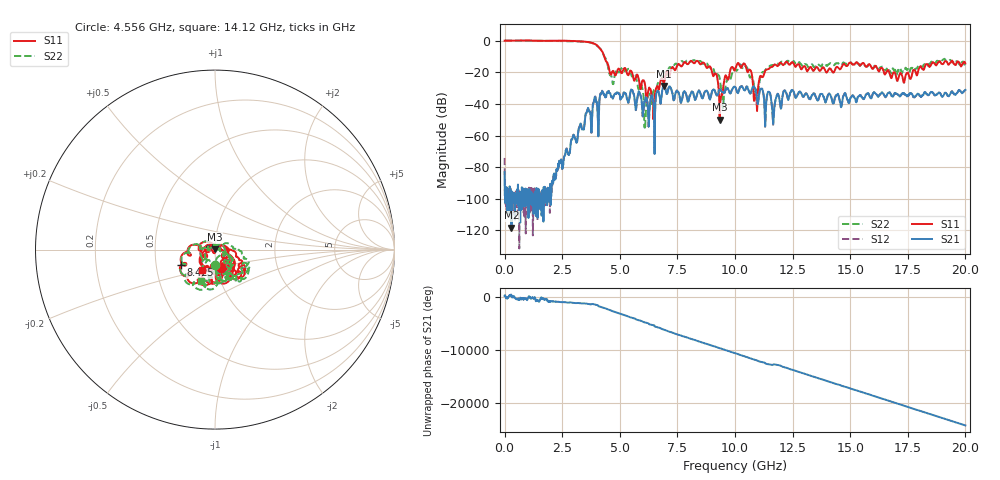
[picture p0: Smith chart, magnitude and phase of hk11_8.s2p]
#  HZ  S  RI  R  50.00
! Rohde & Schwarz Vector Network Analyzer
! Rohde-Schwarz,ZNB20-2Port,1311601062102128,3.60
! Created: UTC 4/29/2024, 3:47:19 PM
! freq[Hz]  re:S11  im:S11  re:S21  im:S21  re:S12  im:S12  re:S22  im:S22
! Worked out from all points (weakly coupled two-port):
!   2007 points, 100 kHz to 20 GHz, reference 50 ohm
!   highest |S21| = -28.69 dB at 6.919 GHz (marker M1); lowest = -118.2 dB at 299.2 MHz (marker M2)
!   lowest |S11| = -49.9 dB at 9.332 GHz (marker M3), VSWR 1.01, Z = 49.8 + j0.229 ohm
!   |S11| at or under -10 dB: 4.327 GHz to end of sweep
!   |S22| runs from -55.1 to 0.1 dB; largest |S21 - S12| = 0.0019
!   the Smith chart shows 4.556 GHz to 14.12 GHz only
!   S11 on the Smith chart (normalised r, x): 4.556 GHz: 1.04, -0.21; 8.425 GHz: 0.67, -0.12; 14.12 GHz: 0.85, -0.19
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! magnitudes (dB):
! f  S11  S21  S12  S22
! 100 kHz  0.0  -83.1  -74.1  0.1
! 299.2 MHz  0.0  -118.2  -95.8  0.0
! 2.253 GHz  0.0  -81.1  -84.0  -0.3
! 3.34 GHz  -0.6  -55.1  -54.9  -0.6
! 4.118 GHz  -4.7  -37.1  -37.3  -4.6
! 4.556 GHz  -19.5  -33.0  -33.0  -21.3
! 5.633 GHz  -25.4  -35.9  -35.9  -21.3
! 6.122 GHz  -31.4  -36.3  -36.3  -46.2
! 6.67 GHz  -30.1  -31.9  -31.9  -26.2
! 6.919 GHz  -26.6  -28.7  -28.8  -20.1
! 8.425 GHz  -13.6  -31.6  -31.6  -13.0
! 9.163 GHz  -20.9  -33.2  -33.2  -22.3
! 9.332 GHz  -49.9  -30.9  -31.0  -23.2
! 9.502 GHz  -28.1  -33.0  -33.1  -38.3
! 10 GHz  -18.6  -29.3  -29.3  -17.7
! 10.66 GHz  -18.6  -33.1  -33.2  -23.4
! 10.9 GHz  -33.9  -31.5  -31.6  -33.9
! 11.67 GHz  -15.9  -51.6  -51.7  -15.4
! 13.34 GHz  -17.9  -34.4  -34.4  -14.9
! 14.12 GHz  -17.6  -33.9  -34.0  -14.3
! 16.67 GHz  -19.1  -32.9  -33.0  -18.9
! 20 GHz  -14.5  -31.1  -31.3  -15.2
